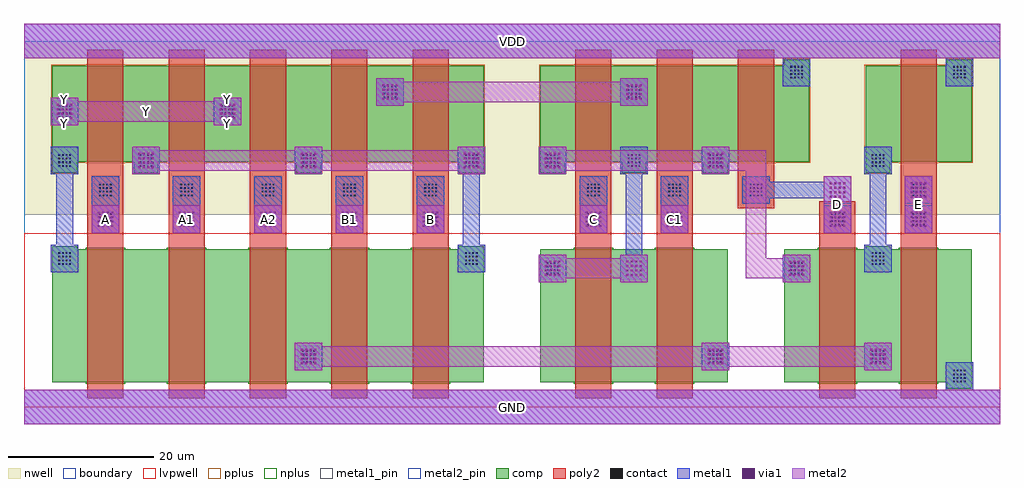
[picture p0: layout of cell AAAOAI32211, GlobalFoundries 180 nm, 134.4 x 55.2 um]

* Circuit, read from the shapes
.subckt AAAOAI32211 A A1 A2 B B1 C C1 D E GND VDD Y
XM1 n1 A Y VSUBS nfet_03v3 w=18.3u l=5u
XM2 n2 A1 n1 VSUBS nfet_03v3 w=18.3u l=5u
XM3 n3 A2 n2 VSUBS nfet_03v3 w=18.3u l=5u
XM4 n4 B1 n3 VSUBS nfet_03v3 w=18.3u l=5u
XM5 n5 B n4 VSUBS nfet_03v3 w=18.3u l=5u
XM6 n6 C n7 VSUBS nfet_03v3 w=18.3u l=5u
XM7 n3 C1 n6 VSUBS nfet_03v3 w=18.3u l=5u
XM8 n3 D n8 VSUBS nfet_03v3 w=18.3u l=5u
XM9 GND E n3 VSUBS nfet_03v3 w=18.3u l=5u
XM10 n5 A Y n9 pfet_03v3 w=13.2u l=5u
XM11 Y A1 n5 n9 pfet_03v3 w=13.2u l=5u
XM12 n5 A2 Y n9 pfet_03v3 w=13.2u l=5u
XM13 n7 B1 n5 n9 pfet_03v3 w=13.2u l=5u
XM14 n5 B n7 n9 pfet_03v3 w=13.2u l=5u
XM15 n7 C n8 n9 pfet_03v3 w=13.2u l=5u
XM16 n8 C1 n7 n9 pfet_03v3 w=13.2u l=5u
XM17 VDD D n8 n9 pfet_03v3 w=13.2u l=5u
XM18 VDD E n3 n9 pfet_03v3 w=13.2u l=5u
.ends

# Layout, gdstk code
import gdstk
lib = gdstk.Library(unit=1e-6, precision=1e-09)
def R(c, l, rs):  # rectangles x0, y0, x1, y1
    for r in rs: c.add(gdstk.rectangle(r[:2], r[2:], *l))
def A(c, l, x, y, w, h, nx, ny, dx, dy):  # array of equal rectangles
    R(c, l, [(x+i*dx, y+j*dy, x+i*dx+w, y+j*dy+h) for i in range(nx) for j in range(ny)])
boundary = (0, 0)
nwell = (21, 0)
comp = (22, 0)
poly2 = (30, 0)
pplus = (31, 0)
nplus = (32, 0)
contact = (33, 0)
metal1 = (34, 0)
metal1_pin = (34, 10)
via1 = (35, 0)
metal2 = (36, 0)
metal2_pin = (36, 10)
lvpwell = (204, 0)

aaaoai32211 = lib.new_cell('AAAOAI32211')
R(aaaoai32211, boundary, [(0,0,134.4,50.4)])
R(aaaoai32211, nwell, [(0,26.45,134.4,50.4)])
A(aaaoai32211, comp, 3.9, 21.7, 3.4, 0.45, 3, 1, 56, 0)
A(aaaoai32211, comp, 15.1, 32.25, 3.4, 1.55, 3, 1, 22.4, 0)
A(aaaoai32211, comp, 71.1, 32.25, 3.4, 1.55, 3, 1, 11.2, 0)
R(aaaoai32211, comp, [(127.1,2.55,130.5,3.4), (3.9,3.4,63.3,21.7), (71.1,3.4,96.9,21.7), (104.7,3.4,130.5,21.7), (3.9,32.25,7.3,33.8), (115.9,32.25,119.3,33.8), (3.9,33.8,63.3,47), (71.1,33.8,108.1,47), (115.9,33.8,130.5,47), (104.7,47,108.1,47.8), (127.1,47,130.5,47.8)])
A(aaaoai32211, poly2, 8.7, 1.2, 5, 48, 5, 1, 11.2, 0)
R(aaaoai32211, poly2, [(75.9,1.2,80.9,49.2), (87.1,1.2,92.1,49.2), (109.5,1.2,114.5,28.35), (120.7,1.2,125.7,49.2), (98.3,27.4,103.3,49.2)])
A(aaaoai32211, pplus, 14.94, 32.09, 3.72, 1.55, 3, 1, 22.4, 0)
A(aaaoai32211, pplus, 70.94, 32.09, 3.72, 1.55, 3, 1, 11.2, 0)
A(aaaoai32211, pplus, 8.47, 33.57, 5.46, 0.07, 5, 2, 11.2, 13.59)
A(aaaoai32211, pplus, 75.67, 33.57, 5.46, 0.07, 3, 2, 11.2, 13.59)
R(aaaoai32211, pplus, [(3.74,32.09,7.46,33.64), (115.74,32.09,119.46,33.64), (120.47,33.57,125.93,33.64), (3.74,33.64,63.46,47.16), (70.94,33.64,108.26,47.16), (115.74,33.64,130.66,47.16), (104.54,47.16,108.26,47.96), (120.47,47.16,125.93,47.23), (126.94,47.16,130.66,47.96)])
A(aaaoai32211, nplus, 8.47, 3.17, 5.46, 0.21, 5, 2, 11.2, 18.55)
A(aaaoai32211, nplus, 3.88, 21.72, 3.44, 0.45, 3, 1, 56, 0)
R(aaaoai32211, nplus, [(127.08,2.53,130.52,3.38), (75.67,3.17,81.13,3.38), (86.87,3.17,92.33,3.38), (109.27,3.17,114.73,3.38), (120.47,3.17,125.93,3.38), (3.88,3.38,63.32,21.72), (71.08,3.38,96.92,21.72), (104.68,3.38,130.52,21.72), (75.67,21.72,81.13,21.93), (86.87,21.72,92.33,21.93), (109.27,21.72,114.73,21.93), (120.47,21.72,125.93,21.93)])
A(aaaoai32211, contact, 127.94, 3.39, 0.22, 0.22, 4, 4, 0.5, 0.5)
A(aaaoai32211, contact, 38.34, 6.09, 0.22, 0.22, 4, 4, 0.5, 0.5)
A(aaaoai32211, contact, 94.34, 6.09, 0.22, 0.22, 4, 4, 0.5, 0.5)
A(aaaoai32211, contact, 116.74, 6.09, 0.22, 0.22, 4, 4, 0.5, 0.5)
A(aaaoai32211, contact, 71.94, 18.24, 0.22, 0.22, 4, 4, 0.5, 0.5)
A(aaaoai32211, contact, 105.54, 18.24, 0.22, 0.22, 4, 4, 0.5, 0.5)
A(aaaoai32211, contact, 4.74, 19.59, 0.22, 0.22, 4, 4, 0.5, 0.5)
A(aaaoai32211, contact, 60.74, 19.59, 0.22, 0.22, 4, 4, 0.5, 0.5)
A(aaaoai32211, contact, 116.74, 19.59, 0.22, 0.22, 4, 4, 0.5, 0.5)
A(aaaoai32211, contact, 10.34, 24.99, 0.22, 0.22, 4, 4, 0.5, 0.5)
A(aaaoai32211, contact, 21.54, 24.99, 0.22, 0.22, 4, 4, 0.5, 0.5)
A(aaaoai32211, contact, 32.74, 24.99, 0.22, 0.22, 4, 4, 0.5, 0.5)
A(aaaoai32211, contact, 43.94, 24.99, 0.22, 0.22, 4, 4, 0.5, 0.5)
A(aaaoai32211, contact, 55.14, 24.99, 0.22, 0.22, 4, 4, 0.5, 0.5)
A(aaaoai32211, contact, 77.54, 24.99, 0.22, 0.22, 4, 4, 0.5, 0.5)
A(aaaoai32211, contact, 88.74, 24.99, 0.22, 0.22, 4, 4, 0.5, 0.5)
A(aaaoai32211, contact, 111.14, 24.99, 0.22, 0.22, 4, 4, 0.5, 0.5)
A(aaaoai32211, contact, 122.34, 24.99, 0.22, 0.22, 4, 4, 0.5, 0.5)
A(aaaoai32211, contact, 10.34, 29.04, 0.22, 0.22, 4, 4, 0.5, 0.5)
A(aaaoai32211, contact, 21.54, 29.04, 0.22, 0.22, 4, 4, 0.5, 0.5)
A(aaaoai32211, contact, 32.74, 29.04, 0.22, 0.22, 4, 4, 0.5, 0.5)
A(aaaoai32211, contact, 43.94, 29.04, 0.22, 0.22, 4, 4, 0.5, 0.5)
A(aaaoai32211, contact, 55.14, 29.04, 0.22, 0.22, 4, 4, 0.5, 0.5)
A(aaaoai32211, contact, 77.54, 29.04, 0.22, 0.22, 4, 4, 0.5, 0.5)
A(aaaoai32211, contact, 88.74, 29.04, 0.22, 0.22, 4, 4, 0.5, 0.5)
A(aaaoai32211, contact, 99.94, 29.04, 0.22, 0.22, 4, 4, 0.5, 0.5)
A(aaaoai32211, contact, 122.34, 29.04, 0.22, 0.22, 4, 4, 0.5, 0.5)
A(aaaoai32211, contact, 4.74, 33.09, 0.22, 0.22, 4, 4, 0.5, 0.5)
A(aaaoai32211, contact, 15.94, 33.09, 0.22, 0.22, 4, 4, 0.5, 0.5)
A(aaaoai32211, contact, 38.34, 33.09, 0.22, 0.22, 4, 4, 0.5, 0.5)
A(aaaoai32211, contact, 60.74, 33.09, 0.22, 0.22, 4, 4, 0.5, 0.5)
A(aaaoai32211, contact, 71.94, 33.09, 0.22, 0.22, 4, 4, 0.5, 0.5)
A(aaaoai32211, contact, 83.14, 33.09, 0.22, 0.22, 4, 4, 0.5, 0.5)
A(aaaoai32211, contact, 94.34, 33.09, 0.22, 0.22, 4, 4, 0.5, 0.5)
A(aaaoai32211, contact, 116.74, 33.09, 0.22, 0.22, 4, 4, 0.5, 0.5)
A(aaaoai32211, contact, 4.74, 39.84, 0.22, 0.22, 4, 4, 0.5, 0.5)
A(aaaoai32211, contact, 27.14, 39.84, 0.22, 0.22, 4, 4, 0.5, 0.5)
A(aaaoai32211, contact, 49.54, 42.54, 0.22, 0.22, 4, 4, 0.5, 0.5)
A(aaaoai32211, contact, 83.14, 42.54, 0.22, 0.22, 4, 4, 0.5, 0.5)
A(aaaoai32211, contact, 105.54, 45.24, 0.22, 0.22, 4, 4, 0.5, 0.5)
A(aaaoai32211, contact, 127.94, 45.24, 0.22, 0.22, 4, 4, 0.5, 0.5)
A(aaaoai32211, metal1, 3.7, 18.55, 3.8, 3.8, 3, 1, 56, 0)
A(aaaoai32211, metal1, 4.45, 22.35, 2.3, 9.7, 3, 1, 56, 0)
A(aaaoai32211, metal1, 9.3, 23.95, 3.8, 7.85, 5, 1, 11.2, 0)
A(aaaoai32211, metal1, 14.9, 32.05, 3.8, 3.8, 3, 1, 22.4, 0)
A(aaaoai32211, metal1, 70.9, 32.05, 3.8, 3.8, 3, 1, 11.2, 0)
R(aaaoai32211, metal1, [(0,-2.4,134.4,2.4), (126.9,2.4,130.7,6.15), (37.3,5.05,41.1,8.85), (93.3,5.05,97.1,8.85), (115.7,5.05,119.5,8.85), (70.9,17.2,74.7,21), (82.1,17.2,85.9,21), (104.5,17.2,108.3,21), (82.85,21,85.15,32.05), (76.5,23.95,80.3,31.8), (87.7,23.95,91.5,31.8), (110.1,23.95,113.9,27.75), (121.3,23.95,125.1,27.75), (98.9,28,102.7,28.75), (110.1,28,113.9,28.75), (121.3,28,125.1,31.8), (98.9,28.75,113.9,31.05), (98.9,31.05,102.7,31.8), (110.1,31.05,113.9,31.8), (3.7,32.05,7.5,35.85), (115.7,32.05,119.5,35.85), (3.7,38.8,7.5,42.6), (26.1,38.8,29.9,42.6), (48.5,41.5,52.3,45.3), (82.1,41.5,85.9,45.3), (104.5,44.2,108.3,48), (126.9,44.2,130.7,48), (0,48,134.4,52.8)])
R(aaaoai32211, metal1_pin, [(0,-2.4,134.4,2.4), (0,48,134.4,52.8)])
A(aaaoai32211, via1, 38.14, 5.89, 0.26, 0.26, 4, 4, 0.62, 0.62)
A(aaaoai32211, via1, 94.14, 5.89, 0.26, 0.26, 4, 4, 0.62, 0.62)
A(aaaoai32211, via1, 116.54, 5.89, 0.26, 0.26, 4, 4, 0.62, 0.62)
A(aaaoai32211, via1, 71.74, 18.04, 0.26, 0.26, 4, 4, 0.62, 0.62)
A(aaaoai32211, via1, 82.94, 18.04, 0.26, 0.26, 4, 4, 0.62, 0.62)
A(aaaoai32211, via1, 105.34, 18.04, 0.26, 0.26, 4, 4, 0.62, 0.62)
A(aaaoai32211, via1, 10.14, 24.79, 0.26, 0.26, 4, 4, 0.62, 0.62)
A(aaaoai32211, via1, 21.34, 24.79, 0.26, 0.26, 4, 4, 0.62, 0.62)
A(aaaoai32211, via1, 32.54, 24.79, 0.26, 0.26, 4, 4, 0.62, 0.62)
A(aaaoai32211, via1, 43.74, 24.79, 0.26, 0.26, 4, 4, 0.62, 0.62)
A(aaaoai32211, via1, 54.94, 24.79, 0.26, 0.26, 4, 4, 0.62, 0.62)
A(aaaoai32211, via1, 77.34, 24.79, 0.26, 0.26, 4, 4, 0.62, 0.62)
A(aaaoai32211, via1, 88.54, 24.79, 0.26, 0.26, 4, 4, 0.62, 0.62)
A(aaaoai32211, via1, 110.94, 24.79, 0.26, 0.26, 4, 4, 0.62, 0.62)
A(aaaoai32211, via1, 122.14, 24.79, 0.26, 0.26, 4, 4, 0.62, 0.62)
A(aaaoai32211, via1, 110.94, 28.84, 0.26, 0.26, 4, 4, 0.62, 0.62)
A(aaaoai32211, via1, 122.14, 28.84, 0.26, 0.26, 4, 4, 0.62, 0.62)
A(aaaoai32211, via1, 15.74, 32.89, 0.26, 0.26, 4, 4, 0.62, 0.62)
A(aaaoai32211, via1, 38.14, 32.89, 0.26, 0.26, 4, 4, 0.62, 0.62)
A(aaaoai32211, via1, 60.54, 32.89, 0.26, 0.26, 4, 4, 0.62, 0.62)
A(aaaoai32211, via1, 71.74, 32.89, 0.26, 0.26, 4, 4, 0.62, 0.62)
A(aaaoai32211, via1, 94.14, 32.89, 0.26, 0.26, 4, 4, 0.62, 0.62)
A(aaaoai32211, via1, 4.54, 39.64, 0.26, 0.26, 4, 4, 0.62, 0.62)
A(aaaoai32211, via1, 26.94, 39.64, 0.26, 0.26, 4, 4, 0.62, 0.62)
A(aaaoai32211, via1, 49.34, 42.34, 0.26, 0.26, 4, 4, 0.62, 0.62)
A(aaaoai32211, via1, 82.94, 42.34, 0.26, 0.26, 4, 4, 0.62, 0.62)
A(aaaoai32211, metal2, 9.3, 23.95, 3.8, 3.8, 5, 1, 11.2, 0)
A(aaaoai32211, metal2, 14.9, 32.05, 3.8, 0.5, 3, 2, 22.4, 3.3)
R(aaaoai32211, metal2, [(0,-2.4,134.4,2.4), (37.3,5.05,41.1,5.55), (93.3,5.05,97.1,5.55), (115.7,5.05,119.5,5.55), (37.3,5.55,119.5,8.35), (37.3,8.35,41.1,8.85), (93.3,8.35,97.1,8.85), (115.7,8.35,119.5,8.85), (70.9,17.2,74.7,17.7), (82.1,17.2,85.9,17.7), (104.5,17.2,108.3,17.7), (70.9,17.7,85.9,20.5), (99.4,17.7,108.3,20.5), (70.9,20.5,74.7,21), (82.1,20.5,85.9,21), (99.4,20.5,102.2,32.55), (104.5,20.5,108.3,21), (76.5,23.95,80.3,27.75), (87.7,23.95,91.5,27.75), (110.1,23.95,113.9,31.8), (121.3,23.95,125.1,31.8), (70.9,32.05,74.7,32.55), (93.3,32.05,97.1,32.55), (14.9,32.55,63.5,35.35), (70.9,32.55,102.2,35.35), (70.9,35.35,74.7,35.85), (93.3,35.35,97.1,35.85), (3.7,38.8,7.5,39.3), (26.1,38.8,29.9,39.3), (3.7,39.3,29.9,42.1), (48.5,41.5,52.3,42), (82.1,41.5,85.9,42), (48.5,42,85.9,44.8), (3.7,42.1,7.5,42.6), (26.1,42.1,29.9,42.6), (48.5,44.8,52.3,45.3), (82.1,44.8,85.9,45.3), (0,48,134.4,52.8)])
A(aaaoai32211, metal2_pin, 9.3, 23.95, 3.8, 3.8, 5, 1, 11.2, 0)
R(aaaoai32211, metal2_pin, [(76.5,23.95,80.3,27.75), (87.7,23.95,91.5,27.75), (110.1,23.95,113.9,31.8), (121.3,23.95,125.1,31.8), (3.7,38.8,7.5,39.3), (26.1,38.8,29.9,39.3), (3.7,39.3,29.9,42.1), (3.7,42.1,7.5,42.6), (26.1,42.1,29.9,42.6)])
R(aaaoai32211, lvpwell, [(0,0,134.4,23.95)])
aaaoai32211.add(gdstk.Label('VDD', (67.2,50.4), layer=34, texttype=10))
aaaoai32211.add(gdstk.Label('GND', (67.2,0), layer=34, texttype=10))
aaaoai32211.add(gdstk.Label('Y', (5.6,39.05), layer=36, texttype=10))
aaaoai32211.add(gdstk.Label('Y', (28,39.05), layer=36, texttype=10))
aaaoai32211.add(gdstk.Label('Y', (16.8,40.7), layer=36, texttype=10))
aaaoai32211.add(gdstk.Label('Y', (5.6,42.35), layer=36, texttype=10))
aaaoai32211.add(gdstk.Label('Y', (28,42.35), layer=36, texttype=10))
aaaoai32211.add(gdstk.Label('A2', (33.6,25.85), layer=36, texttype=10))
aaaoai32211.add(gdstk.Label('B1', (44.8,25.85), layer=36, texttype=10))
aaaoai32211.add(gdstk.Label('C1', (89.6,25.85), layer=36, texttype=10))
aaaoai32211.add(gdstk.Label('E', (123.2,27.875), layer=36, texttype=10))
aaaoai32211.add(gdstk.Label('C', (78.4,25.85), layer=36, texttype=10))
aaaoai32211.add(gdstk.Label('A1', (22.4,25.85), layer=36, texttype=10))
aaaoai32211.add(gdstk.Label('B', (56,25.85), layer=36, texttype=10))
aaaoai32211.add(gdstk.Label('A', (11.2,25.85), layer=36, texttype=10))
aaaoai32211.add(gdstk.Label('D', (112,27.875), layer=36, texttype=10))

lib.write_gds('AAAOAI32211.gds')
